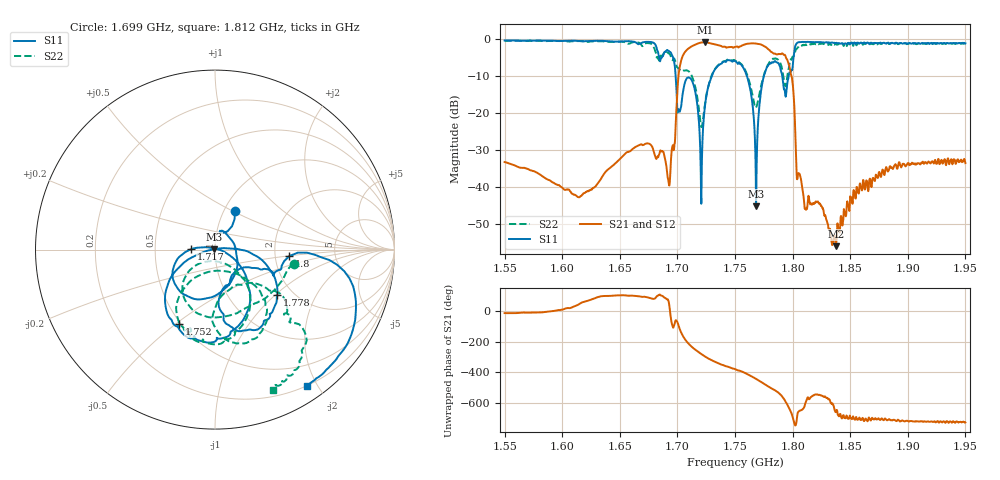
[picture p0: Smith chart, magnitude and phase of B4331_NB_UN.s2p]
! Matrix data file written by TouchstoneData, EPCOS AG
! FILENAME: "B4331_01_NB.snp"
! COMMENT: "(TS/B4331_01_NB.s2p) Epcos AG 11/12/2013 3:4"
! INFO: nport=2, nfreq=1601
! DATE: "Wed Dec 18 10:37:38 2013"
! USER: "Dan Wang"
! port | pin | signal
!  1  |  1  |  input
!  2  |  4  |  output
# MHZ S RI R 50
! freq  reS11 imS11  reS21 imS21  reS12 imS12  reS22 imS22
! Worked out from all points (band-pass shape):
!   1601 points, 1.55 GHz to 1.95 GHz, reference 50 ohm
!   highest |S21| = -0.87 dB at 1.724 GHz (marker M1); lowest = -55.9 dB at 1.838 GHz (marker M2)
!   |S21| within 3 dB of the highest: 1.706 GHz to 1.783 GHz (77.58 MHz wide, 4.45 % of centre); 1.79099 GHz to 1.791002 GHz (11.45 kHz wide, 0.000639 % of centre)
!   lowest |S11| = -45.1 dB at 1.768 GHz (marker M3), VSWR 1.01, Z = 49.5 + j0.263 ohm
!   |S11| at or under -10 dB: 1.698 GHz to 1.73 GHz (31.38 MHz wide, 1.83 % of centre); 1.76 GHz to 1.775 GHz (14.71 MHz wide, 0.832 % of centre); 1.791019 GHz to 1.796551 GHz (5.532 MHz wide, 0.308 % of centre)
!   |S22| runs from -23.8 to -0.4 dB; largest |S21 - S12| = 0
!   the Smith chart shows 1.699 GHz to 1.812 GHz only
!   S11 on the Smith chart (normalised r, x): 1.699 GHz: 1.13, +0.51; 1.717 GHz: 0.77, +0.01; 1.752 GHz: 0.49, -0.52; 1.778 GHz: 1.66, -1.03; 1.8 GHz: 2.40, -0.21; 1.812 GHz: 0.20, -1.86
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1550  -0.4127 -0.862  0.0212 -0.0054  0.0212 -0.0054  -0.5323 -0.7845
1616.75  -0.585 -0.7302  0.0046 0.00615  0.0046 0.00615  -0.7139 -0.6122
1683.5  -0.6052 0.1602  -0.00553 0.0251  -0.00553 0.0251  -0.4345 0.3083
1692.5  -0.6296 0.287  0.00633 0.00932  0.00633 0.00932  -0.0227 0.6463
1699  0.1109 0.2134  0.0452 -0.0932  0.0452 -0.0932  0.438 -0.0797
1707.25  -0.0503 -0.2714  -0.6758 0.1345  -0.6758 0.1345  0.016 -0.3771
1717.25  -0.1312 0.0032  -0.1285 0.855  -0.1285 0.855  -0.1271 -0.1027
1720.5  -0.00556 0.00691  0.1392 0.8849  0.1392 0.8849  -0.0217 -0.0639
1723.75  0.1062 -0.0518  0.3834 0.8193  0.3834 0.8193  0.0874 -0.0957
1750  -0.1724 -0.4746  0.7445 -0.2437  0.7445 -0.2437  -0.1209 -0.4994
1752.5  -0.1999 -0.4165  0.7029 -0.3512  0.7029 -0.3512  -0.1452 -0.4393
1762.25  -0.2171 -0.1161  0.4795 -0.7269  0.4795 -0.7269  -0.17 -0.2126
1768.25  -0.00488 0.00265  0.1314 -0.8594  0.1314 -0.8594  0.0157 -0.1174
1778.25  0.3468 -0.2529  -0.4625 -0.5838  -0.4625 -0.5838  0.2895 -0.3317
1790.5  0.0381 -0.35  -0.624 0.1258  -0.624 0.1258  -0.00651 -0.4208
1800  0.4135 -0.0363  0.217 0.1367  0.217 0.1367  0.4165 -0.3999
1804.5  0.7508 -0.4962  0.0072 0.0122  0.0072 0.0122  0.4815 -0.6037
1811.5  0.511 -0.7595  -0.00314 0.00397  -0.00314 0.00397  0.3241 -0.7798
1816.75  0.3969 -0.8183  -0.0056 0.00154  -0.0056 0.00154  0.2468 -0.8228
1837.75  0.1566 -0.8745  0.000719 0.00143  0.000719 0.00143  0.0392 -0.8432
1883.5  -0.0399 -0.8792  0.0162 0.00469  0.0162 0.00469  -0.1388 -0.8531
1950  -0.1435 -0.8633  0.0211 -0.00163  0.0211 -0.00163  -0.2428 -0.8498
